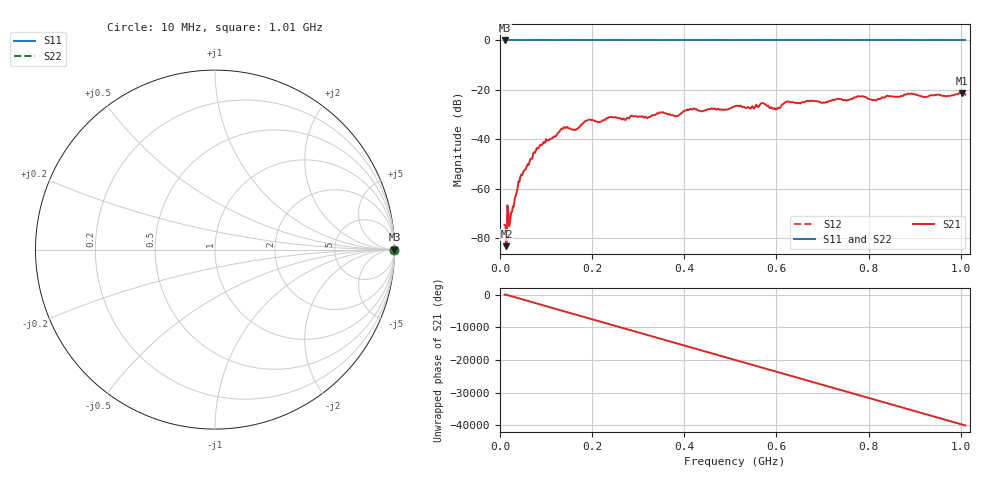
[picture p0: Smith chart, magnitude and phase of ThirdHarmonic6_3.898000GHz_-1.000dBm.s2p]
! 8/17/2025 1:42:24 PM
! C:\ANRITSUVNA\TEMP\TEMP.S2P
! CHANNEL.1
! TR.MEASUREMENT
! RAW.DATA
! RF.CORRECTION.OFF
! AVERAGING.OFF
! IF.BANDWIDTH: 5KHZ
! SWEEPTYPE:  FREQ.SWEEP(Linear)
! Reference Plane Port Info
! PORT:  PORT1  PORT2
! DISTANCE:  0  m  0  m
! TIME:  0  s  0  s
! PHASE.OFFSET:  0  deg.  0  deg.
! LOSS:  0  dB  0  dB
! REF.LOSS:  0  dB  0  dB
! REF.FREQ:  0  Hz  0  Hz
! Power Info
! POWER:  -20  dBm  -20  dBm
! EFF.POWER:  -20  dBm  -20  dBm
! SOURCE.ATTEN:  0  dB  0  dB
! TEST.ATTEN:  0  dB  0  dB
# GHZ S RI R 50.0
! FREQ.GHZ  S11RE  S11IM  S21RE  S21IM  S12RE  S12IM  S22RE  S22IM
!; PortSelection: Port_12
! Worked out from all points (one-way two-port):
!   501 points, 10 MHz to 1.01 GHz, reference 50 ohm
!   highest |S21| = -21.19 dB at 1.002 GHz (marker M1); lowest = -83.2 dB at 14 MHz (marker M2)
!   lowest |S11| = 0.0 dB at 10 MHz (marker M3)
!   |S11| at or under -10 dB: nowhere
!   |S22| runs from 0.0 to 0.0 dB; largest |S21 - S12| = 1.1
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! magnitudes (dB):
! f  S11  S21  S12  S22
! 10 MHz  0.0  -74.6  0.0  0.0
! 14 MHz  0.0  -83.2  0.0  0.0
! 24 MHz  0.0  -69.6  0.0  0.0
! 44 MHz  0.0  -55.2  0.0  0.0
! 76 MHz  0.0  -45.4  0.0  0.0
! 136 MHz  0.0  -35.8  0.0  0.0
! 162 MHz  0.0  -36.1  0.0  0.0
! 178 MHz  0.0  -33.8  0.0  0.0
! 192 MHz  0.0  -32.2  0.0  0.0
! 322 MHz  0.0  -31.1  0.0  0.0
! 344 MHz  0.0  -29.6  0.0  0.0
! 384 MHz  0.0  -30.6  0.0  0.0
! 410 MHz  0.0  -28.2  0.0  0.0
! 510 MHz  0.0  -26.6  0.0  0.0
! 570 MHz  0.0  -25.4  0.0  0.0
! 596 MHz  0.0  -27.4  0.0  0.0
! 622 MHz  0.0  -24.8  0.0  0.0
! 678 MHz  0.0  -24.5  0.0  0.0
! 814 MHz  0.0  -24.1  0.0  0.0
! 844 MHz  0.0  -22.6  0.0  0.0
! 1.002 GHz  0.0  -21.2  0.0  0.0
! 1.01 GHz  0.0  -21.9  0.0  0.0
